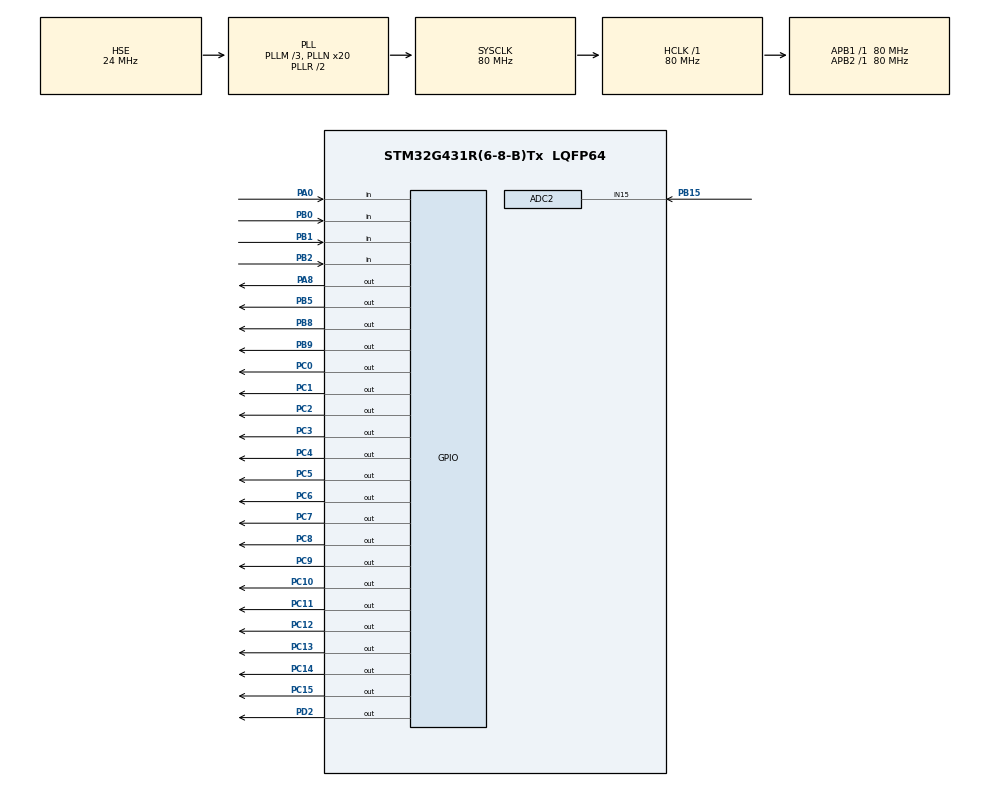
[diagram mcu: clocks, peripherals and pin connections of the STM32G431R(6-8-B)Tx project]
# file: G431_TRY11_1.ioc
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ADC2.Channel-0\#ChannelRegularConversion=ADC_CHANNEL_15
ADC2.NbrOfConversionFlag=1
ADC2.OffsetNumber-0\#ChannelRegularConversion=ADC_OFFSET_NONE
ADC2.Rank-0\#ChannelRegularConversion=1
ADC2.SamplingTime-0\#ChannelRegularConversion=ADC_SAMPLETIME_2CYCLES_5
Mcu.Family=STM32G4
Mcu.Name=STM32G431R(6-8-B)Tx
Mcu.Package=LQFP64
NVIC.PriorityGroup=NVIC_PRIORITYGROUP_4
NVIC.TIM2_IRQn=true\:0\:0\:false\:false\:true\:true\:true
PA0.GPIO_Mode=GPIO_MODE_INPUT
PA0.GPIO_PuPd=GPIO_PULLUP
PA0.Signal=GPIO_Input
PA13.Mode=Serial_Wire
PA13.Signal=SYS_JTMS-SWDIO
PA14.Mode=Serial_Wire
PA14.Signal=SYS_JTCK-SWCLK
PA8.Signal=GPIO_Output
PB0.GPIO_Mode=GPIO_MODE_INPUT
PB0.GPIO_PuPd=GPIO_PULLUP
PB0.Signal=GPIO_Input
PB1.GPIO_Mode=GPIO_MODE_INPUT
PB1.GPIO_PuPd=GPIO_PULLUP
PB1.Signal=GPIO_Input
PB15.Mode=IN15-Single-Ended
PB15.Signal=ADC2_IN15
PB2.GPIO_Mode=GPIO_MODE_INPUT
PB2.GPIO_PuPd=GPIO_PULLUP
PB2.Signal=GPIO_Input
PB5.Signal=GPIO_Output
PB8-BOOT0.Signal=GPIO_Output
PB9.Signal=GPIO_Output
PC0.Signal=GPIO_Output
PC1.Signal=GPIO_Output
PC10.Signal=GPIO_Output
PC11.Signal=GPIO_Output
PC12.Signal=GPIO_Output
PC13.Signal=GPIO_Output
PC14-OSC32_IN.Signal=GPIO_Output
PC15-OSC32_OUT.Signal=GPIO_Output
PC2.Signal=GPIO_Output
PC3.Signal=GPIO_Output
PC4.Signal=GPIO_Output
PC5.Signal=GPIO_Output
PC6.Signal=GPIO_Output
PC7.Signal=GPIO_Output
PC8.Signal=GPIO_Output
PC9.Signal=GPIO_Output
PD2.Signal=GPIO_Output
PF0-OSC_IN.Mode=HSE-External-Oscillator
PF0-OSC_IN.Signal=RCC_OSC_IN
PF1-OSC_OUT.Mode=HSE-External-Oscillator
PF1-OSC_OUT.Signal=RCC_OSC_OUT
ProjectManager.HeapSize=0x200
ProjectManager.StackSize=0x400
ProjectManager.TargetToolchain=MDK-ARM V5
RCC.ADC12Freq_Value=80000000
RCC.AHBFreq_Value=80000000
RCC.APB1Freq_Value=80000000
RCC.APB1TimFreq_Value=80000000
RCC.APB2Freq_Value=80000000
RCC.APB2TimFreq_Value=80000000
RCC.CortexFreq_Value=80000000
RCC.EXTERNAL_CLOCK_VALUE=12288000
RCC.HCLKFreq_Value=80000000
RCC.HSE_VALUE=24000000
RCC.HSI48_VALUE=48000000
RCC.HSI_VALUE=16000000
RCC.LSE_VALUE=32768
RCC.PLLM=RCC_PLLM_DIV3
RCC.PLLN=20
RCC.PLLSourceVirtual=RCC_PLLSOURCE_HSE
RCC.SYSCLKFreq_VALUE=80000000
RCC.SYSCLKSource=RCC_SYSCLKSOURCE_PLLCLK
RCC.USBFreq_Value=80000000
RCC.VCOOutputFreq_Value=160000000
TIM2.PeriodNoDither=500-1
TIM2.Prescaler=800-1
VP_SYS_VS_DBSignals.Mode=DisableDeadBatterySignals
VP_TIM2_VS_ClockSourceINT.Mode=Internal
board=custom

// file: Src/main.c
/* USER CODE BEGIN Header */
/**
  ******************************************************************************
  * @file           : main.c
  * @brief          : Main program body
  ******************************************************************************
  * @attention
  *
  * <h2><center>&copy; Copyright (c) 2023 STMicroelectronics.
  * All rights reserved.</center></h2>
  *
  * This software component is licensed by ST under BSD 3-Clause license,
  * the "License"; You may not use this file except in compliance with the
  * License. You may obtain a copy of the License at:
  *                        opensource.org/licenses/BSD-3-Clause
  *
  ******************************************************************************
  */
/* USER CODE END Header */

#include "main.h"
#include "adc.h"
#include "tim.h"
#include "gpio.h"

/* USER CODE BEGIN Includes */
#include "madc.h"
#include "m_int.h"
#include "led.h"
#include "lcd.h"

/* USER CODE END Includes */

/* USER CODE BEGIN PV */
bool page=0,page_flag=0,judge=0;
uint8_t time=0;
double madc=0.0,VMAX=3.0,VMIN=1.0,VMAX0=3.0,VMIN0=1.0;
extern struct keys key[4];
extern uint8_t flag;
/* USER CODE END PV */

void SystemClock_Config(void);
/* USER CODE BEGIN PFP */
void LCD_Proc(void);
void KEY_Proc(void);
/* USER CODE END PFP */

int main(void)
{

  /* MCU Configuration--------------------------------------------------------*/

  /* Reset of all peripherals, Initializes the Flash interface and the Systick. */
  HAL_Init();

  /* Configure the system clock */
  SystemClock_Config();

  /* Initialize all configured peripherals */
  MX_GPIO_Init();
  MX_ADC2_Init();
  MX_TIM2_Init();
  /* USER CODE BEGIN 2 */
	HAL_ADC_Init(&hadc2);
	HAL_TIM_Base_Start_IT(&htim2);
	LCD_Init();
	LCD_Clear(Black);
	LCD_SetBackColor(Black);
	LCD_SetTextColor(White);
	LED_Proc(0x00);

  /* USER CODE END 2 */

  /* Infinite loop */
  /* USER CODE BEGIN WHILE */
  while (1)
  {
		if(flag == 1 && judge == 0) LED_Proc(0x01);
		else if(flag == 1 && judge == 1) LED_Proc(0x03);
		else if(flag == 0 && judge == 1) LED_Proc(0x02);
		else LED_Proc(0x00);
		madc = Getadc(&hadc2);
		LCD_Proc();
		KEY_Proc();
    /* USER CODE END WHILE */

  }
}

void SystemClock_Config(void)
{
  RCC_OscInitTypeDef RCC_OscInitStruct = {0};
  RCC_ClkInitTypeDef RCC_ClkInitStruct = {0};
  RCC_PeriphCLKInitTypeDef PeriphClkInit = {0};

  /** Configure the main internal regulator output voltage
  */
  HAL_PWREx_ControlVoltageScaling(PWR_REGULATOR_VOLTAGE_SCALE1);
  /** Initializes the CPU, AHB and APB busses clocks
  */
  RCC_OscInitStruct.OscillatorType = RCC_OSCILLATORTYPE_HSE;
  RCC_OscInitStruct.HSEState = RCC_HSE_ON;
  RCC_OscInitStruct.PLL.PLLState = RCC_PLL_ON;
  RCC_OscInitStruct.PLL.PLLSource = RCC_PLLSOURCE_HSE;
  RCC_OscInitStruct.PLL.PLLM = RCC_PLLM_DIV3;
  RCC_OscInitStruct.PLL.PLLN = 20;
  RCC_OscInitStruct.PLL.PLLP = RCC_PLLP_DIV2;
  RCC_OscInitStruct.PLL.PLLQ = RCC_PLLQ_DIV2;
  RCC_OscInitStruct.PLL.PLLR = RCC_PLLR_DIV2;
  if (HAL_RCC_OscConfig(&RCC_OscInitStruct) != HAL_OK)
  {
    Error_Handler();
  }
  /** Initializes the CPU, AHB and APB busses clocks
  */
  RCC_ClkInitStruct.ClockType = RCC_CLOCKTYPE_HCLK|RCC_CLOCKTYPE_SYSCLK
                              |RCC_CLOCKTYPE_PCLK1|RCC_CLOCKTYPE_PCLK2;
  RCC_ClkInitStruct.SYSCLKSource = RCC_SYSCLKSOURCE_PLLCLK;
  RCC_ClkInitStruct.AHBCLKDivider = RCC_SYSCLK_DIV1;
  RCC_ClkInitStruct.APB1CLKDivider = RCC_HCLK_DIV1;
  RCC_ClkInitStruct.APB2CLKDivider = RCC_HCLK_DIV1;

  if (HAL_RCC_ClockConfig(&RCC_ClkInitStruct, FLASH_LATENCY_3) != HAL_OK)
  {
    Error_Handler();
  }
  /** Initializes the peripherals clocks
  */
  PeriphClkInit.PeriphClockSelection = RCC_PERIPHCLK_ADC12;
  PeriphClkInit.Adc12ClockSelection = RCC_ADC12CLKSOURCE_SYSCLK;
  if (HAL_RCCEx_PeriphCLKConfig(&PeriphClkInit) != HAL_OK)
  {
    Error_Handler();
  }
}

/* USER CODE BEGIN 4 */
/*********************************************************��ʼ****************************************************************************/
/*********************************************************��ʼ****************************************************************************/
/*********************************************************��ʼ****************************************************************************/
#include "stdio.h"
char text[30];
void LCD_Proc(void)
{
	if(page == 0)
	{
		if(VMAX0 >= VMIN0 + 0.99 && page_flag != page)
		{
			VMAX = VMAX0;
			VMIN = VMIN0;
			judge = 0;
		}
		else if(VMAX0 < VMIN0 + 0.99 && page_flag != page)
		{
			VMAX0 = VMAX;
			VMIN0 = VMIN;
			judge = 1;
		}
		LCD_DisplayStringLine(Line0,(unsigned char*)"      Data          ");
		sprintf(text," V:%.2fV            ",madc);
		LCD_DisplayStringLine(Line2,(unsigned char*)text);
		sprintf(text," T:%dS            ",time);
		LCD_DisplayStringLine(Line3,(unsigned char*)text);
		page_flag = page;
	}
	else
	{
		LCD_DisplayStringLine(Line0,(unsigned char*)"      Para          ");
		sprintf(text," Vmax:%.1fV          ",VMAX0);
		LCD_DisplayStringLine(Line2,(unsigned char*)text);
		sprintf(text," Vmin:%.1fV          ",VMIN0);
		LCD_DisplayStringLine(Line3,(unsigned char*)text);
		page_flag = page;
	}
}
void KEY_Proc(void)
{
	if(key[0].single_sta == 1)
	{
		page = 1 - page;
		key[0].single_sta = 0;
	}
	if(key[1].single_sta == 1)
	{
		if(page == 1)
		{
			VMAX0 = (VMAX0+0.1)>3.34?0.0:(VMAX0+0.1);
		}
		key[1].single_sta = 0;
	}
	if(key[2].single_sta == 1)
	{
		if(page == 1)
		{
			VMIN0 = (VMIN0+0.1)>3.34?0.0:(VMIN0+0.1);
		}
		key[2].single_sta = 0;
	}
}
/*********************************************************����****************************************************************************/
/*********************************************************����****************************************************************************/
/*********************************************************����****************************************************************************/
/* USER CODE END 4 */

void Error_Handler(void)
{
}

/************************ (C) COPYRIGHT STMicroelectronics *****END OF FILE****/
